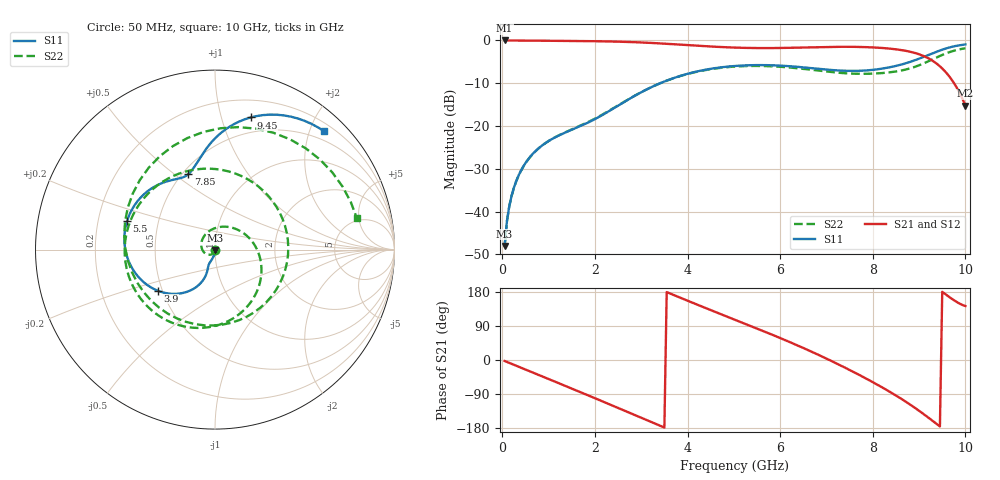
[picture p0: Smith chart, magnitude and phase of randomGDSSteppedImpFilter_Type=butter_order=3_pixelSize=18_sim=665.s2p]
! freq	dB(S11)	phase(S11)	dB(S12)	phase(S12)
!  dB(S21)	phase(S21)	dB(S22)	phase(S22)
!S-par simulation data
#  GHz  S  DB  R 50
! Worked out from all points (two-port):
!   200 points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, 50 MHz to 10 GHz, reference 50 ohm
!   highest |S21| = -0.01 dB at 50 MHz (marker M1); lowest = -15.2 dB at 10 GHz (marker M2)
!   |S21| within 3 dB of the highest: start of sweep to 8.934 GHz
!   lowest |S11| = -48.1 dB at 50 MHz (marker M3), VSWR 1.01, Z = 50 - j0.395 ohm
!   |S11| at or under -10 dB: start of sweep to 3.409 GHz
!   |S22| runs from -48.1 to -1.8 dB; largest |S21 - S12| = 0
!   S11 on the Smith chart (normalised r, x): 50 MHz: 1.00, -0.01; 3.9 GHz: 0.47, -0.25; 5.5 GHz: 0.33, +0.14; 7.85 GHz: 0.54, +0.56; 9.45 GHz: 0.35, +1.24; 10 GHz: 0.33, +2.24
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0.05  -48.06 -86.2  -0.01 -2.6  -0.01 -2.6  -48.10 -89.3
0.2  -36.33 -93.5  -0.02 -10.1  -0.02 -10.1  -36.41 -104.6
0.5  -28.67 -101.3  -0.04 -25.1  -0.04 -25.1  -28.73 -129.7
1.15  -22.60 -111.4  -0.09 -57.7  -0.09 -57.7  -22.58 173.9
1.75  -19.72 -111.5  -0.15 -88.0  -0.15 -88.0  -19.62 113.5
2.45  -15.58 -110.3  -0.27 -123.9  -0.27 -123.9  -15.50 41.3
3.4  -10.04 -128.9  -0.69 -173.1  -0.69 -173.1  -10.05 -38.0
3.9  -8.10 -144.5  -1.02 161.5  -1.02 161.5  -8.15 -72.9
4.45  -6.72 -163.0  -1.39 134.2  -1.39 134.2  -6.81 -108.6
5.05  -5.95 176.7  -1.68 105.0  -1.68 105.0  -6.09 -146.3
5.5  -5.76 162.1  -1.78 83.0  -1.78 83.0  -5.96 -175.3
6.05  -5.92 145.3  -1.75 55.4  -1.75 55.4  -6.19 146.4
6.7  -6.50 128.3  -1.59 20.7  -1.59 20.7  -6.90 93.8
7.35  -7.07 116.2  -1.48 -17.1  -1.48 -17.1  -7.63 29.6
7.85  -7.02 109.5  -1.56 -48.6  -1.56 -48.6  -7.80 -27.4
8.35  -6.31 102.9  -1.90 -82.7  -1.90 -82.7  -7.47 -91.1
8.65  -5.54 98.2  -2.31 -105.1  -2.31 -105.1  -6.96 -133.9
9  -4.27 90.7  -3.23 -134.0  -3.23 -134.0  -5.81 170.8
9.2  -3.41 84.7  -4.17 -151.9  -4.17 -151.9  -4.88 137.4
9.45  -2.35 74.9  -6.05 -175.3  -6.05 -175.3  -3.63 95.6
9.7  -1.51 62.9  -9.12 162.1  -9.12 162.1  -2.58 55.7
10  -0.95 47.4  -15.25 142.5  -15.25 142.5  -1.84 12.6
